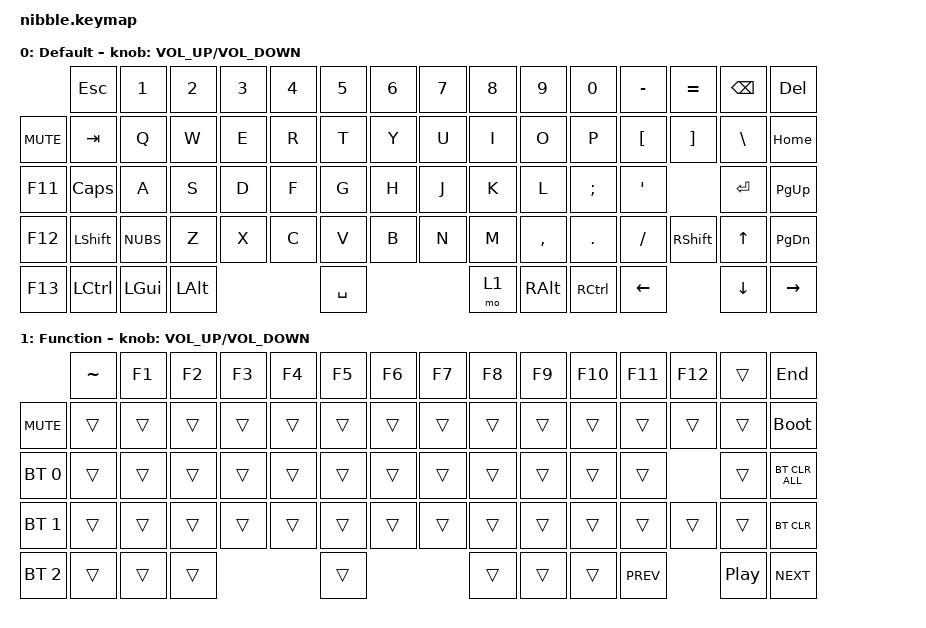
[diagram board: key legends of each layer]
/*
 * Copyright (c) 2020 The ZMK Contributors
 *
 * SPDX-License-Identifier: MIT
 */

#include <behaviors.dtsi>
#include <dt-bindings/zmk/keys.h>
#include <dt-bindings/zmk/bt.h>

/ {
    sensors {
        compatible = "zmk,keymap-sensors";
        sensors = <&encoder_1>;
        triggers-per-rotation = <20>;
    };

    keymap {
        compatible = "zmk,keymap";

        default_layer {
            display-name = "Default";

            sensor-bindings = <&inc_dec_kp C_VOLUME_UP C_VOLUME_DOWN>;

            bindings = <
            &kp ESC   &kp N1    &kp N2    &kp N3    &kp N4    &kp N5    &kp N6    &kp N7    &kp N8  &kp N9    &kp N0    &kp MINUS &kp EQUAL &kp BSPC &kp DEL
&kp C_MUTE  &kp TAB   &kp Q     &kp W     &kp E     &kp R     &kp T     &kp Y     &kp U     &kp I   &kp O     &kp P     &kp LBKT  &kp RBKT  &kp BSLH &kp HOME
&kp F11     &kp CLCK  &kp A     &kp S     &kp D     &kp F     &kp G     &kp H     &kp J     &kp K   &kp L     &kp SEMI  &kp SQT             &kp RET  &kp PG_UP
&kp F12     &kp LSHFT &kp NUBS  &kp Z     &kp X     &kp C     &kp V     &kp B     &kp N     &kp M   &kp COMMA &kp DOT   &kp FSLH  &kp RSHFT &kp UP   &kp PG_DN
&kp F13     &kp LCTRL &kp LGUI  &kp LALT                      &kp SPACE                     &mo 1   &kp RALT  &kp RCTRL &kp LEFT            &kp DOWN &kp RIGHT
            >;
        };
        function_layer {
            display-name = "Function";

            sensor-bindings = <&inc_dec_kp C_VOLUME_UP C_VOLUME_DOWN>;

            bindings = <
             &kp TILDE &kp F1    &kp F2    &kp F3    &kp F4    &kp F5    &kp F6    &kp F7    &kp F8  &kp F9    &kp F10   &kp F11   &kp F12   &trans   &kp END
&kp C_MUTE   &trans    &trans    &trans    &trans    &trans    &trans    &trans    &trans    &trans  &trans    &trans    &trans    &trans    &trans   &bootloader
&bt BT_SEL 0 &trans    &trans    &trans    &trans    &trans    &trans    &trans    &trans    &trans  &trans    &trans    &trans              &trans   &bt BT_CLR_ALL
&bt BT_SEL 1 &trans    &trans    &trans    &trans    &trans    &trans    &trans    &trans    &trans  &trans    &trans    &trans    &trans    &trans   &bt BT_CLR
&bt BT_SEL 2 &trans    &trans    &trans                        &trans                        &trans  &trans    &trans    &kp C_PREV          &kp C_PP &kp C_NEXT
            >;
        };
    };
};
